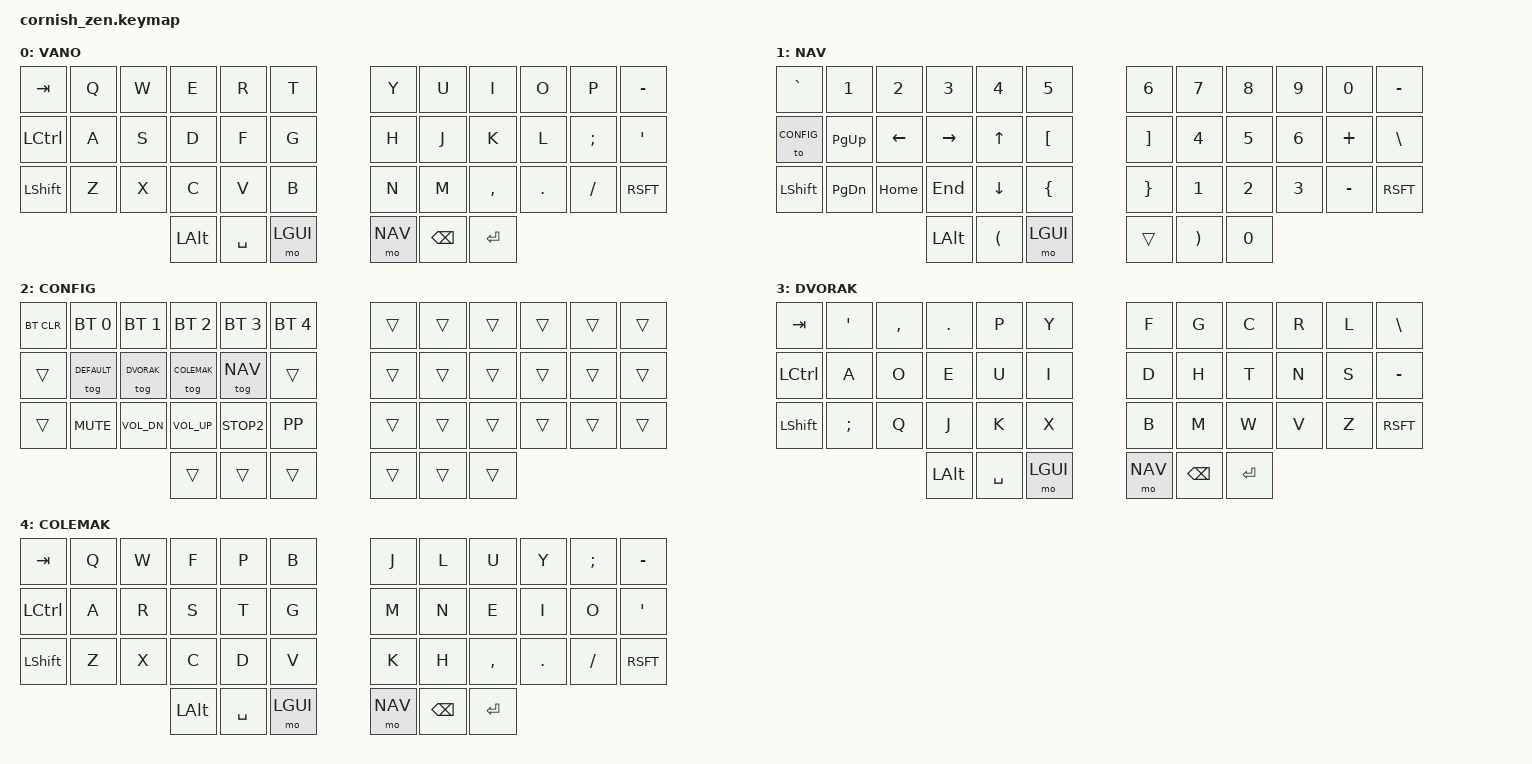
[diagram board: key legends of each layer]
#include <behaviors.dtsi>
#include <dt-bindings/zmk/keys.h>
#include <dt-bindings/zmk/bt.h>

#define DEFAULT  0
#define NAV 1
#define CONFIG 2
#define DVORAK 3
#define COLEMAK 4

&lt {
    tapping-term-ms = <110>;
    flavor = "hold-preferred";

};

&mt {
    tapping-term-ms = <110>;
    flavor = "hold-preferred";
};

/ {
  chosen {
    zmk,matrix_transform = &default_transform;
  };
};

/ {
        keymap {
                compatible = "zmk,keymap";

                default_layer {
                        label = "VANO";
                        bindings = <
// ╭─────────────┬─────────────┬─────────────┬─────────────┬─────────────┬─────────────╮   ╭─────────────┬─────────────┬─────────────┬─────────────┬─────────────┬─────────────╮
     &kp TAB       &kp Q         &kp W         &kp E         &kp R         &kp T             &kp Y         &kp U         &kp I         &kp O         &kp P         &kp MINUS
// ├─────────────┼─────────────┼─────────────┼─────────────┼─────────────┼─────────────┤   ├─────────────┼─────────────┼─────────────┼─────────────┼─────────────┼─────────────┤
     &kp LCTL      &kp A         &kp S         &kp D         &kp F         &kp G             &kp H         &kp J         &kp K         &kp L        &kp SEMICOLON  &kp QUOT
// ├─────────────┼─────────────┼─────────────┼─────────────┼─────────────┼─────────────┤   ├─────────────┼─────────────┼─────────────┼─────────────┼─────────────┼─────────────┤
     &kp LSHFT     &kp Z         &kp X         &kp C         &kp V         &kp B             &kp N         &kp M         &kp CMMA      &kp DOT       &kp FSLH      &kp RSFT
// ╰─────────────┴─────────────┴─────────────┼─────────────┼─────────────┼─────────────┤   ├─────────────┼─────────────┼─────────────┼─────────────┴─────────────┴─────────────╯
                                               &kp LALT      &kp SPC      &mo LGUI           &mo NAV       &kp BKSP      &kp ENTER
//                                           ╰─────────────┴─────────────┴─────────────╯   ╰─────────────┴─────────────┴─────────────╯
                        >;
                };

                nav_layer {
                        label = "NAV";
                        bindings = <
// ╭─────────────┬─────────────┬─────────────┬─────────────┬─────────────┬─────────────╮   ╭─────────────┬─────────────┬─────────────┬─────────────┬─────────────┬─────────────╮
     &kp GRAVE     &kp NUMBER_1  &kp NUMBER_2  &kp NUMBER_3  &kp NUMBER_4  &kp NUMBER_5      &kp NUMBER_6  &kp NUMBER_7  &kp NUMBER_8  &kp NUMBER_9  &kp NUMBER_0  &kp MINUS
// ├─────────────┼─────────────┼─────────────┼─────────────┼─────────────┼─────────────┤   ├─────────────┼─────────────┼─────────────┼─────────────┼─────────────┼─────────────┤
     &to CONFIG    &kp PG_UP     &kp LEFT      &kp RIGHT     &kp UP        &kp LBKT           &kp RBKT     &kp NUMBER_4  &kp NUMBER_5  &kp NUMBER_6  &kp PLUS      &kp BSLH
// ├─────────────┼─────────────┼─────────────┼─────────────┼─────────────┼─────────────┤   ├─────────────┼─────────────┼─────────────┼─────────────┼─────────────┼─────────────┤
     &kp LSHFT     &kp PG_DN     &kp HOME      &kp END       &kp DOWN      &kp LBRC           &kp RBRC     &kp NUMBER_1  &kp NUMBER_2 &kp NUMBER_3   &kp MINUS     &kp RSFT
// ╰─────────────┴─────────────┴─────────────┴─────────────┼─────────────┼─────────────┤   ├─────────────┼─────────────┼─────────────┴─────────────┴─────────────┴─────────────╯
                                               &kp LALT      &kp LPAR      &mo LGUI           &trans        &kp RPAR     &kp NUMBER_0
//                                           ╰─────────────┴─────────────┴─────────────╯   ╰─────────────┴─────────────┴─────────────╯
                        >;
                };

                config_layer {
                        label = "CONFIG";
                        bindings = <
// ╭─────────────┬─────────────┬─────────────┬─────────────┬─────────────┬─────────────╮   ╭─────────────┬─────────────┬─────────────┬─────────────┬─────────────┬─────────────╮
     &bt BT_CLR    &bt BT_SEL 0  &bt BT_SEL 1  &bt BT_SEL 2  &bt BT_SEL 3  &bt BT_SEL 4      &trans        &trans        &trans        &trans        &trans        &trans
// ├─────────────┼─────────────┼─────────────┼─────────────┼─────────────┼─────────────┤   ├─────────────┼─────────────┼─────────────┼─────────────┼─────────────┼─────────────┤
     &trans        &tog DEFAULT  &tog DVORAK   &tog COLEMAK  &tog NAV      &trans            &trans        &trans        &trans        &trans        &trans        &trans
// ├─────────────┼─────────────┼─────────────┼─────────────┼─────────────┼─────────────┤   ├─────────────┼─────────────┼─────────────┼─────────────┼─────────────┼─────────────┤
     &trans        &kp K_MUTE    &kp C_VOL_DN  &kp C_VOL_UP  &kp K_STOP2   &kp K_PP          &trans        &trans        &trans        &trans        &trans        &trans
// ╰─────────────┴─────────────┴─────────────┴─────────────┼─────────────┼─────────────┤   ├─────────────┼─────────────┼─────────────┴─────────────┴─────────────┴─────────────╯
                                               &trans        &trans        &trans            &trans        &trans        &trans
//                                           ╰─────────────┴─────────────┴─────────────╯   ╰─────────────┴─────────────┴─────────────╯
                        >;
                };

                dvorak_layer {
                        label = "DVORAK";
                        bindings = <
// ╭─────────────┬─────────────┬─────────────┬─────────────┬─────────────┬─────────────╮   ╭─────────────┬─────────────┬─────────────┬─────────────┬─────────────┬─────────────╮
     &kp TAB       &kp QUOT      &kp CMMA      &kp DOT       &kp P         &kp Y             &kp F         &kp G         &kp C         &kp R         &kp L         &kp BSLH
// ├─────────────┼─────────────┼─────────────┼─────────────┼─────────────┼─────────────┤   ├─────────────┼─────────────┼─────────────┼─────────────┼─────────────┼─────────────┤
     &kp LCTRL     &kp A         &kp O         &kp E         &kp U         &kp I             &kp D         &kp H         &kp T         &kp N         &kp S         &kp MINUS
// ├─────────────┼─────────────┼─────────────┼─────────────┼─────────────┼─────────────┤   ├─────────────┼─────────────┼─────────────┼─────────────┼─────────────┼─────────────┤
     &kp LSHFT     &kp SEMI      &kp Q         &kp J         &kp K         &kp X             &kp B         &kp M         &kp W         &kp V         &kp Z         &kp RSFT 
// ╰─────────────┴─────────────┴─────────────┴─────────────┼─────────────┼─────────────┤   ├─────────────┼─────────────┼─────────────┴─────────────┴─────────────┴─────────────╯
                                               &kp LALT      &kp SPC      &mo LGUI           &mo NAV       &kp BKSP      &kp ENTER         
//                                           ╰─────────────┴─────────────┴─────────────╯   ╰─────────────┴─────────────┴─────────────╯
                        >;
                };

                colemak_layer {
                        label = "COLEMAK";
                        bindings = <
// ╭─────────────┬─────────────┬─────────────┬─────────────┬─────────────┬─────────────╮   ╭─────────────┬─────────────┬─────────────┬─────────────┬─────────────┬─────────────╮
     &kp TAB       &kp Q         &kp W         &kp F         &kp P         &kp B             &kp J         &kp L         &kp U         &kp Y         &kp SEMI      &kp MINUS
// ├─────────────┼─────────────┼─────────────┼─────────────┼─────────────┼─────────────┤   ├─────────────┼─────────────┼─────────────┼─────────────┼─────────────┼─────────────┤
     &kp LCTL      &kp A         &kp R         &kp S         &kp T         &kp G             &kp M         &kp N         &kp E         &kp I          &kp O        &kp QUOT      
// ├─────────────┼─────────────┼─────────────┼─────────────┼─────────────┼─────────────┤   ├─────────────┼─────────────┼─────────────┼─────────────┼─────────────┼─────────────┤
     &kp LSHFT     &kp Z         &kp X         &kp C         &kp D         &kp V             &kp K         &kp H         &kp CMMA      &kp DOT       &kp FSLH      &kp RSFT
// ╰─────────────┴─────────────┴─────────────┼─────────────┼─────────────┼─────────────┤   ├─────────────┼─────────────┼─────────────┼─────────────┴─────────────┴─────────────╯
                                               &kp LALT      &kp SPC      &mo LGUI           &mo NAV       &kp BKSP      &kp ENTER         
//                                           ╰─────────────┴─────────────┴─────────────╯   ╰─────────────┴─────────────┴─────────────╯
                        >;
                };
        };
};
